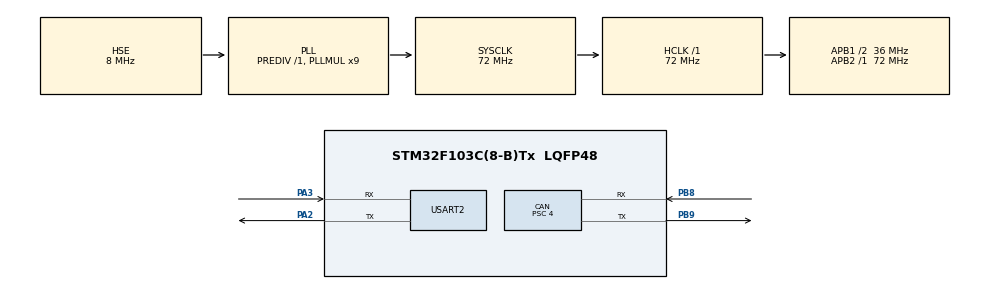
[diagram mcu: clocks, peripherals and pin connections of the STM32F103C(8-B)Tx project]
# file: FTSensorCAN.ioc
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CAN.BS1=CAN_BS1_6TQ
CAN.BS2=CAN_BS2_2TQ
CAN.CalculateBaudRate=1000000
CAN.CalculateTimeBit=1000
CAN.CalculateTimeQuantum=111.11111111111111
CAN.NART=ENABLE
CAN.Prescaler=4
Mcu.Family=STM32F1
Mcu.Name=STM32F103C(8-B)Tx
Mcu.Package=LQFP48
NVIC.PriorityGroup=NVIC_PRIORITYGROUP_4
NVIC.USB_LP_CAN1_RX0_IRQn=true\:0\:0\:false\:false\:true\:false\:true\:true
PA13.Mode=Serial_Wire
PA13.Signal=SYS_JTMS-SWDIO
PA14.Mode=Serial_Wire
PA14.Signal=SYS_JTCK-SWCLK
PA2.Mode=Asynchronous
PA2.Signal=USART2_TX
PA3.Mode=Asynchronous
PA3.Signal=USART2_RX
PB8.Mode=CAN_Activate
PB8.Signal=CAN_RX
PB9.Mode=CAN_Activate
PB9.Signal=CAN_TX
PD0-OSC_IN.Mode=HSE-External-Oscillator
PD0-OSC_IN.Signal=RCC_OSC_IN
PD1-OSC_OUT.Mode=HSE-External-Oscillator
PD1-OSC_OUT.Signal=RCC_OSC_OUT
ProjectManager.HeapSize=0x800
ProjectManager.StackSize=0x400
ProjectManager.TargetToolchain=STM32CubeIDE
RCC.AHBFreq_Value=72000000
RCC.APB1CLKDivider=RCC_HCLK_DIV2
RCC.APB1Freq_Value=36000000
RCC.APB1TimFreq_Value=72000000
RCC.APB2Freq_Value=72000000
RCC.APB2TimFreq_Value=72000000
RCC.HCLKFreq_Value=72000000
RCC.PLLMUL=RCC_PLL_MUL9
RCC.PLLSourceVirtual=RCC_PLLSOURCE_HSE
RCC.SYSCLKFreq_VALUE=72000000
RCC.SYSCLKSource=RCC_SYSCLKSOURCE_PLLCLK
RCC.USBFreq_Value=48000000
RCC.USBPrescaler=RCC_USBCLKSOURCE_PLL_DIV1_5
USART2.VirtualMode=VM_ASYNC
board=custom

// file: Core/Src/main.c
/* USER CODE BEGIN Header */
/**
  ******************************************************************************
  * @file           : main.c
  * @brief          : Main program body
  ******************************************************************************
  * @attention
  *
  * Copyright (c) 2026 STMicroelectronics.
  * All rights reserved.
  *
  * This software is licensed under terms that can be found in the LICENSE file
  * in the root directory of this software component.
  * If no LICENSE file comes with this software, it is provided AS-IS.
  *
  ******************************************************************************
  */
/* USER CODE END Header */
#include "main.h"

/* USER CODE BEGIN Includes */
#include "rft_sensor.h"
#include "commid_tool.h"
#include <stdio.h>
/* USER CODE END Includes */

CAN_HandleTypeDef hcan;

UART_HandleTypeDef huart2;

/* USER CODE BEGIN PV */
RFT_Data_t ft;
/* USER CODE END PV */

void SystemClock_Config(void);
static void MX_GPIO_Init(void);
static void MX_CAN_Init(void);
static void MX_USART2_UART_Init(void);

int main(void)
{

  /* MCU Configuration--------------------------------------------------------*/

  /* Reset of all peripherals, Initializes the Flash interface and the Systick. */
  HAL_Init();

  /* Configure the system clock */
  SystemClock_Config();

  /* Initialize all configured peripherals */
  MX_GPIO_Init();
  MX_CAN_Init();
  MX_USART2_UART_Init();
  /* USER CODE BEGIN 2 */

  RFT_Init(&hcan);
  HAL_Delay(2000);

#if COMM_ID_CONFIG_MODE
  CommID_RunRecovery(&huart2);
  while (1);
#endif

  RFT_StartStream();
  HAL_Delay(200);     /* 스트리밍 안정화 대기 */
  RFT_SetBias(1);     /* 자동 영점 설정 */

  /* USER CODE END 2 */

  /* Infinite loop */
  while (1)
  {

    /* USER CODE BEGIN 3 */

    /* Bus-Off 자동 복구 */
    if (hcan.Instance->ESR & CAN_ESR_BOFF) {
        HAL_CAN_Stop(&hcan);
        HAL_Delay(10);
        HAL_CAN_Start(&hcan);
        RFT_StartStream();
    }

    ft = RFT_GetData();
    if (ft.updated) {
        /* %f 대신 정수 변환 사용 (newlib-nano %f 미지원 대비) */
        char buf[96];
        int pos = 0;
        const float vals[6]  = {ft.Fx, ft.Fy, ft.Fz, ft.Tx, ft.Ty, ft.Tz};
        const int   decs[6]  = {3, 3, 3, 5, 5, 5};
        const uint32_t muls[6] = {1000, 1000, 1000, 100000, 100000, 100000};
        for (int i = 0; i < 6; i++) {
            float v = vals[i];
            int neg = (v < 0.0f);
            if (neg) v = -v;
            uint32_t iv = (uint32_t)(v * (float)muls[i] + 0.5f);
            pos += snprintf(buf + pos, sizeof(buf) - (uint32_t)pos,
                            "%s%lu.%0*lu%c",
                            neg ? "-" : "",
                            (unsigned long)(iv / muls[i]),
                            decs[i],
                            (unsigned long)(iv % muls[i]),
                            (i < 5) ? ',' : '\r');
        }
        buf[pos++] = '\n';
        HAL_UART_Transmit(&huart2, (uint8_t *)buf, (uint16_t)pos, 20);
    }
  }
  /* USER CODE END 3 */
}

void SystemClock_Config(void)
{
  RCC_OscInitTypeDef RCC_OscInitStruct = {0};
  RCC_ClkInitTypeDef RCC_ClkInitStruct = {0};

  /** Initializes the RCC Oscillators according to the specified parameters
  * in the RCC_OscInitTypeDef structure.
  */
  RCC_OscInitStruct.OscillatorType = RCC_OSCILLATORTYPE_HSE;
  RCC_OscInitStruct.HSEState = RCC_HSE_ON;
  RCC_OscInitStruct.HSEPredivValue = RCC_HSE_PREDIV_DIV1;
  RCC_OscInitStruct.HSIState = RCC_HSI_ON;
  RCC_OscInitStruct.PLL.PLLState = RCC_PLL_ON;
  RCC_OscInitStruct.PLL.PLLSource = RCC_PLLSOURCE_HSE;
  RCC_OscInitStruct.PLL.PLLMUL = RCC_PLL_MUL9;
  if (HAL_RCC_OscConfig(&RCC_OscInitStruct) != HAL_OK)
  {
    Error_Handler();
  }

  /** Initializes the CPU, AHB and APB buses clocks
  */
  RCC_ClkInitStruct.ClockType = RCC_CLOCKTYPE_HCLK|RCC_CLOCKTYPE_SYSCLK
                              |RCC_CLOCKTYPE_PCLK1|RCC_CLOCKTYPE_PCLK2;
  RCC_ClkInitStruct.SYSCLKSource = RCC_SYSCLKSOURCE_PLLCLK;
  RCC_ClkInitStruct.AHBCLKDivider = RCC_SYSCLK_DIV1;
  RCC_ClkInitStruct.APB1CLKDivider = RCC_HCLK_DIV2;
  RCC_ClkInitStruct.APB2CLKDivider = RCC_HCLK_DIV1;

  if (HAL_RCC_ClockConfig(&RCC_ClkInitStruct, FLASH_LATENCY_2) != HAL_OK)
  {
    Error_Handler();
  }
}

static void MX_CAN_Init(void)
{

  hcan.Instance = CAN1;
  hcan.Init.Prescaler = 4;
  hcan.Init.Mode = CAN_MODE_NORMAL;
  hcan.Init.SyncJumpWidth = CAN_SJW_1TQ;
  hcan.Init.TimeSeg1 = CAN_BS1_6TQ;
  hcan.Init.TimeSeg2 = CAN_BS2_2TQ;
  hcan.Init.TimeTriggeredMode = DISABLE;
  hcan.Init.AutoBusOff = DISABLE;
  hcan.Init.AutoWakeUp = DISABLE;
  hcan.Init.AutoRetransmission = ENABLE;
  hcan.Init.ReceiveFifoLocked = DISABLE;
  hcan.Init.TransmitFifoPriority = DISABLE;
  if (HAL_CAN_Init(&hcan) != HAL_OK)
  {
    Error_Handler();
  }

}

static void MX_USART2_UART_Init(void)
{

  huart2.Instance = USART2;
  huart2.Init.BaudRate = 115200;
  huart2.Init.WordLength = UART_WORDLENGTH_8B;
  huart2.Init.StopBits = UART_STOPBITS_1;
  huart2.Init.Parity = UART_PARITY_NONE;
  huart2.Init.Mode = UART_MODE_TX_RX;
  huart2.Init.HwFlowCtl = UART_HWCONTROL_NONE;
  huart2.Init.OverSampling = UART_OVERSAMPLING_16;
  if (HAL_UART_Init(&huart2) != HAL_OK)
  {
    Error_Handler();
  }

}

static void MX_GPIO_Init(void)
{

  /* GPIO Ports Clock Enable */
  __HAL_RCC_GPIOD_CLK_ENABLE();
  __HAL_RCC_GPIOA_CLK_ENABLE();
  __HAL_RCC_GPIOB_CLK_ENABLE();

}

void Error_Handler(void)
{
  __disable_irq();
  while (1)
  {
  }
}
